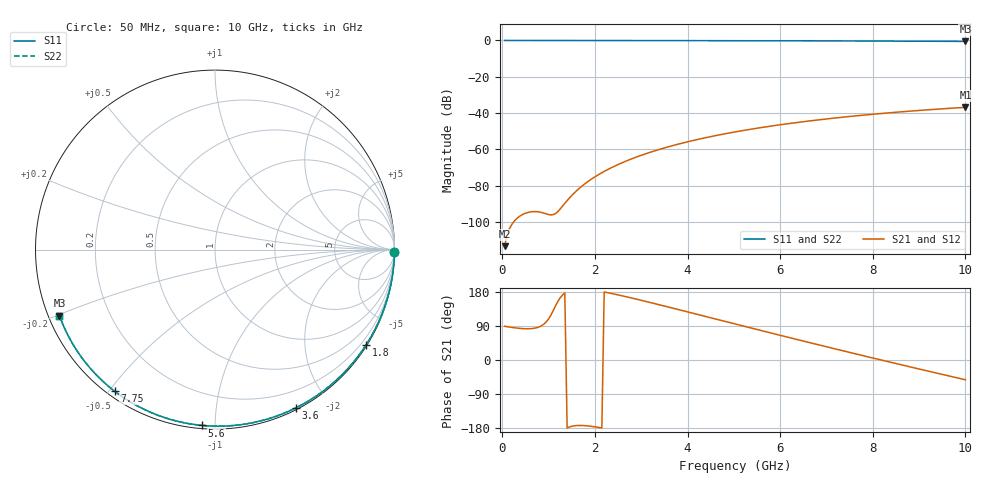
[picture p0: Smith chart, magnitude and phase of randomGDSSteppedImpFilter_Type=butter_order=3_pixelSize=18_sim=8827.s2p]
! freq	dB(S11)	phase(S11)	dB(S12)	phase(S12)
!  dB(S21)	phase(S21)	dB(S22)	phase(S22)
!S-par simulation data
#  GHz  S  DB  R 50
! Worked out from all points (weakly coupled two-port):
!   200 points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, 50 MHz to 10 GHz, reference 50 ohm
!   highest |S21| = -36.82 dB at 10 GHz (marker M1); lowest = -113.2 dB at 50 MHz (marker M2)
!   lowest |S11| = -0.5 dB at 10 GHz (marker M3), VSWR 33.10, Z = 1.57 - j10.1 ohm
!   |S11| at or under -10 dB: nowhere
!   |S22| runs from -0.5 to 0.0 dB; largest |S21 - S12| = 0
!   S11 on the Smith chart (normalised r, x): 50 MHz: open; 1.8 GHz: 0.03, -3.45; 3.6 GHz: 0.02, -1.63; 5.6 GHz: 0.02, -0.93; 7.75 GHz: 0.02, -0.52; 10 GHz: 0.03, -0.20
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0.05  -0.00 -0.9  -113.23 89.0  -113.23 89.0  -0.00 -0.9
0.45  -0.01 -8.2  -95.64 82.8  -95.64 82.8  -0.01 -8.2
0.9  -0.02 -16.3  -95.04 94.9  -95.04 94.9  -0.02 -16.3
1.7  -0.04 -30.6  -80.57 -172.7  -80.57 -172.7  -0.04 -30.6
1.75  -0.04 -31.5  -79.54 -172.9  -79.54 -172.9  -0.04 -31.5
1.8  -0.04 -32.3  -78.56 -173.3  -78.56 -173.3  -0.04 -32.3
1.95  -0.04 -35.0  -75.88 -175.4  -75.88 -175.4  -0.04 -35.0
2.1  -0.05 -37.6  -73.52 -178.3  -73.52 -178.3  -0.05 -37.6
2.3  -0.05 -41.0  -70.74 177.0  -70.74 177.0  -0.05 -41.0
2.5  -0.06 -44.5  -68.29 171.8  -68.29 171.8  -0.06 -44.5
2.9  -0.07 -51.3  -64.13 160.5  -64.13 160.5  -0.07 -51.3
3.4  -0.08 -59.6  -59.90 145.5  -59.90 145.5  -0.08 -59.6
3.6  -0.08 -62.9  -58.43 139.4  -58.43 139.4  -0.08 -62.9
4.3  -0.11 -74.2  -54.02 117.7  -54.02 117.7  -0.11 -74.2
5.05  -0.13 -85.9  -50.23 94.4  -50.23 94.4  -0.13 -85.9
5.6  -0.16 -94.3  -47.90 77.4  -47.90 77.4  -0.16 -94.3
6.15  -0.18 -102.4  -45.87 60.6  -45.87 60.6  -0.18 -102.4
6.7  -0.22 -110.4  -44.09 43.9  -44.09 43.9  -0.22 -110.4
7.75  -0.29 -125.4  -41.22 12.6  -41.22 12.6  -0.29 -125.4
8.35  -0.34 -133.8  -39.84 -5.0  -39.84 -5.0  -0.34 -133.8
9.2  -0.43 -145.7  -38.15 -29.5  -38.15 -29.5  -0.43 -145.7
10  -0.52 -157.0  -36.82 -52.2  -36.82 -52.2  -0.53 -157.0
